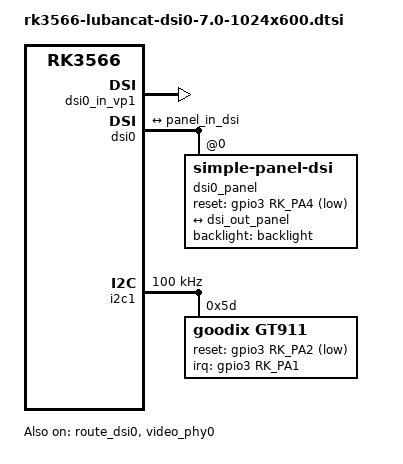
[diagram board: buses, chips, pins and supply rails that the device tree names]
// SPDX-License-Identifier: (GPL-2.0+ OR MIT)
&route_dsi0 {
	status = "okay";
	connect = <&vp0_out_dsi0>;
};

&video_phy0 {
	status = "okay";
};

&dsi0_in_vp1 {
	status = "okay";
};

&dsi0_in_vp0 {
	status = "disabled";
};

&dsi0 {
	status = "okay";
	power-supply = <&mipi_dsi0_power>;

	dsi0_panel: panel@0 {
		compatible = "simple-panel-dsi";
		reg = <0>;
		backlight = <&backlight>;
		reset-gpios = <&gpio3 RK_PA4 GPIO_ACTIVE_LOW>;

		enable-delay-ms = <35>;
		prepare-delay-ms = <6>;
		reset-delay-ms = <0>;
		init-delay-ms = <20>;
		unprepare-delay-ms = <0>;
		disable-delay-ms = <20>;

		size,width = <74>;
		size,height = <133>;

		dsi,flags = <(MIPI_DSI_MODE_VIDEO | MIPI_DSI_MODE_VIDEO_BURST | MIPI_DSI_MODE_LPM | MIPI_DSI_MODE_EOT_PACKET)>;
		dsi,format = <MIPI_DSI_FMT_RGB888>;
		dsi,lanes  = <4>;

		panel-init-sequence = [
			15 00 02 80 AC
			15 00 02 81 B8
			15 00 02 82 09
			15 00 02 83 78
			15 00 02 84 7f
			15 00 02 85 bb
			15 00 02 86 70
		];

		panel-exit-sequence = [
			05 78 01 28
			05 00 01 10
		];

		disp_timings0: display-timings {
			native-mode = <&dsi0_timing0>;
			dsi0_timing0: timing0 {
				clock-frequency = <51669000>;
				hactive = <1024>;
				vactive = <600>;
				hsync-len = <10>;
				hback-porch = <160>;
				hfront-porch = <160>;
				vsync-len = <1>;
				vback-porch = <23>;
				vfront-porch = <12>;
				hsync-active = <0>;
				vsync-active = <0>;
				de-active = <0>;
				pixelclk-active = <0>;
			};
		};

		ports {
			#address-cells = <1>;
			#size-cells = <0>;
			port@0 {
				reg = <0>;
				panel_in_dsi: endpoint {
					remote-endpoint = <&dsi_out_panel>;
				};
			};
		};
	};

	ports {
		#address-cells = <1>;
		#size-cells = <0>;

		port@1 {
			reg = <1>;
			dsi_out_panel: endpoint {
				remote-endpoint = <&panel_in_dsi>;
			};
		};
	};
};

&i2c1 {
	status = "okay";
	clock-frequency = <100000>;

	gt911: gt911@5d {
		status = "okay";
		compatible = "goodix,gt911";
		reg = <0x5d>;
		interrupt-parent = <&gpio3>;
		interrupts = <RK_PA1 IRQ_TYPE_LEVEL_LOW>;
		reset-gpios = <&gpio3 RK_PA2 GPIO_ACTIVE_LOW>;
		irq-gpios = <&gpio3 RK_PA1 GPIO_ACTIVE_HIGH>;
		touchscreen-inverted-x = <1>;
		touchscreen-inverted-y = <1>;
	};
};
